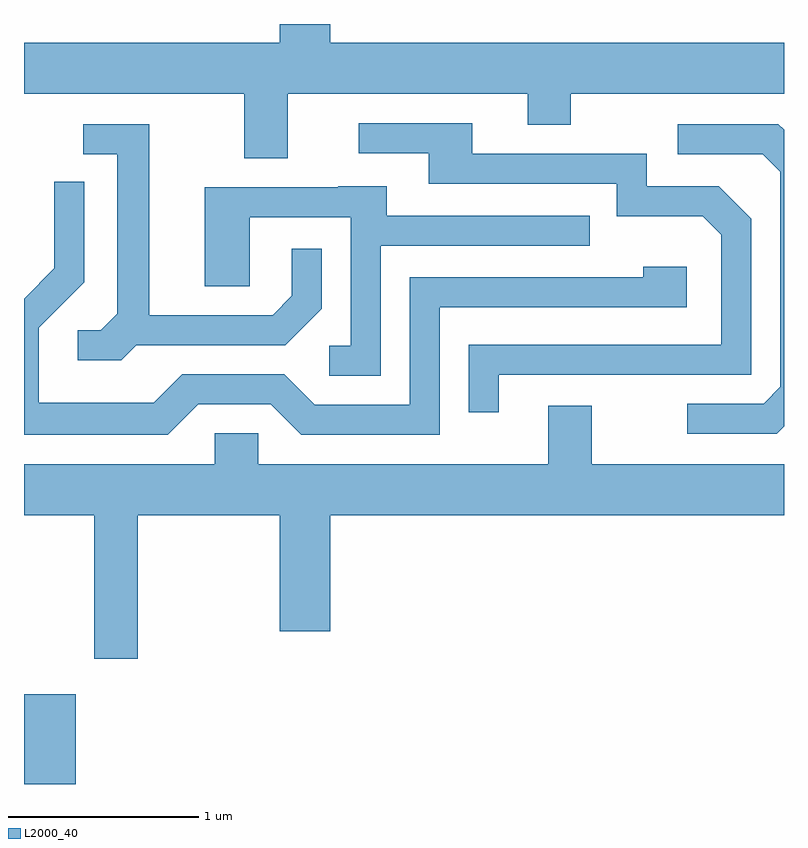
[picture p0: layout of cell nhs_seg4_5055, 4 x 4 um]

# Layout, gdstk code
import gdstk
lib = gdstk.Library(unit=1e-6, precision=1e-09)
def R(c, l, rs):  # rectangles x0, y0, x1, y1
    for r in rs: c.add(gdstk.rectangle(r[:2], r[2:], *l))
def P(c, l, *ps):  # polygons
    for p in ps: c.add(gdstk.Polygon(p, *l))
L2000_40 = (2000, 40)

nhs_seg4_5055 = lib.new_cell('nhs_seg4_5055')
R(nhs_seg4_5055, L2000_40, [(333.611,1299.982,333.884,1300.454)])
P(nhs_seg4_5055, L2000_40, [(334.999,1303.616),(336.261,1303.616),(336.261,1303.451),(336.489,1303.451),(336.489,1303.616),(337.611,1303.616),(337.611,1303.884),(335.224,1303.884),(335.224,1303.982),(334.956,1303.982),(334.956,1303.884),(333.611,1303.884),(333.611,1303.616),(334.771,1303.616),(334.771,1303.276),(334.999,1303.276)],
  [(336.109,1302.136),(337.439,1302.136),(337.439,1302.957),(337.267,1303.129),(336.889,1303.129),(336.889,1303.299),(335.969,1303.299),(335.969,1303.459),(335.373,1303.459),(335.373,1303.301),(335.741,1303.301),(335.741,1303.141),(336.731,1303.141),(336.731,1302.971),(337.184,1302.971),(337.281,1302.874),(337.281,1302.294),(335.951,1302.294),(335.951,1301.938),(336.109,1301.938)],
  [(337.611,1301.865),(337.611,1303.425),(337.582,1303.454),(337.053,1303.454),(337.053,1303.296),(337.499,1303.296),(337.591,1303.204),(337.591,1302.072),(337.504,1301.984),(337.103,1301.984),(337.103,1301.826),(337.572,1301.826)],
  [(334.202,1302.291),(334.987,1302.291),(335.179,1302.484),(335.179,1302.798),(335.021,1302.798),(335.021,1302.552),(334.919,1302.449),(334.269,1302.449),(334.269,1303.454),(333.923,1303.454),(333.923,1303.296),(334.101,1303.296),(334.101,1302.457),(334.014,1302.369),(333.893,1302.369),(333.893,1302.211),(334.122,1302.211)],
  [(334.527,1301.981),(334.909,1301.981),(335.069,1301.821),(335.799,1301.821),(335.799,1302.491),(337.099,1302.491),(337.099,1302.704),(336.871,1302.704),(336.871,1302.649),(335.641,1302.649),(335.641,1301.979),(335.142,1301.979),(334.982,1302.139),(334.444,1302.139),(334.294,1301.989),(333.689,1301.989),(333.689,1302.384),(333.929,1302.624),(333.929,1303.153),(333.771,1303.153),(333.771,1302.697),(333.611,1302.537),(333.611,1301.821),(334.367,1301.821)],
  [(335.489,1302.816),(336.588,1302.816),(336.588,1302.974),(335.519,1302.974),(335.519,1303.129),(335.265,1303.129),(335.265,1303.124),(334.561,1303.124),(334.561,1302.601),(334.799,1302.601),(334.799,1302.966),(335.331,1302.966),(335.331,1302.289),(335.218,1302.289),(335.218,1302.131),(335.489,1302.131)],
  [(334.209,1301.396),(334.956,1301.396),(334.956,1300.786),(335.224,1300.786),(335.224,1301.396),(337.611,1301.396),(337.611,1301.664),(336.599,1301.664),(336.599,1301.974),(336.371,1301.974),(336.371,1301.664),(334.844,1301.664),(334.844,1301.829),(334.616,1301.829),(334.616,1301.664),(333.611,1301.664),(333.611,1301.396),(333.981,1301.396),(333.981,1300.641),(334.209,1300.641)])

lib.write_gds('nhs_seg4_5055.gds')
